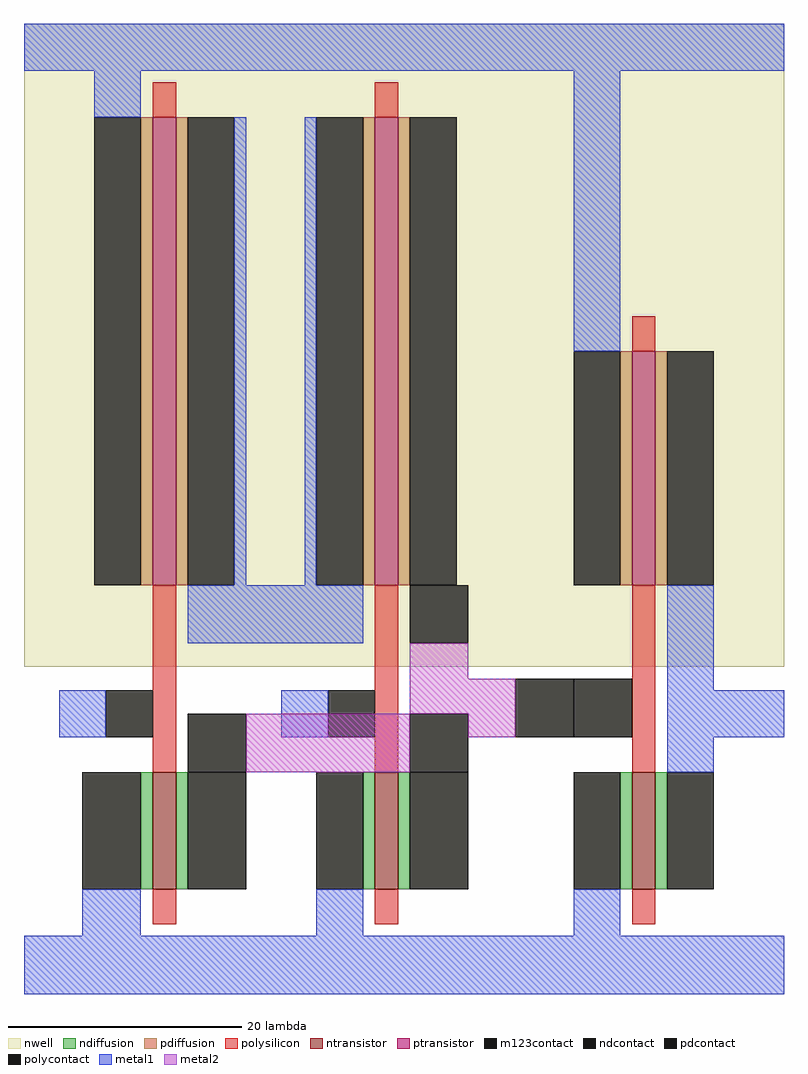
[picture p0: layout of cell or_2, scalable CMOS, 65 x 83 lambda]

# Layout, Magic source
magic
tech scmos
<< nwell >>
rect 0 38 65 93
<< ntransistor >>
rect 11 19 13 29
rect 30 19 32 29
rect 52 19 54 29
<< ptransistor >>
rect 11 45 13 85
rect 30 45 32 85
rect 52 45 54 65
<< ndiffusion >>
rect 10 19 11 29
rect 13 19 14 29
rect 29 19 30 29
rect 32 19 33 29
rect 51 19 52 29
rect 54 19 55 29
<< pdiffusion >>
rect 10 45 11 85
rect 13 45 14 85
rect 29 45 30 85
rect 32 45 33 85
rect 51 45 52 65
rect 54 45 55 65
<< ndcontact >>
rect 5 19 10 29
rect 14 19 19 29
rect 25 19 29 29
rect 33 19 38 29
rect 47 19 51 29
rect 55 19 59 29
<< pdcontact >>
rect 6 45 10 85
rect 14 45 18 85
rect 25 45 29 85
rect 33 45 37 85
rect 47 45 51 65
rect 55 45 59 65
<< polysilicon >>
rect 11 85 13 88
rect 30 85 32 88
rect 52 65 54 68
rect 11 29 13 45
rect 30 29 32 45
rect 52 29 54 45
rect 11 16 13 19
rect 30 16 32 19
rect 52 16 54 19
<< polycontact >>
rect 7 32 11 36
rect 26 32 30 36
rect 47 32 52 37
<< metal1 >>
rect 0 89 65 93
rect 6 85 10 89
rect 18 45 19 85
rect 24 45 25 85
rect 14 40 29 45
rect 47 65 51 89
rect 3 32 7 36
rect 22 32 26 36
rect 55 36 59 45
rect 55 32 65 36
rect 55 29 59 32
rect 5 15 10 19
rect 25 15 29 19
rect 47 15 51 19
rect 0 10 65 15
<< metal2 >>
rect 33 37 38 40
rect 33 34 42 37
rect 19 29 33 34
rect 38 32 42 34
<< m123contact >>
rect 33 40 38 45
rect 14 29 19 34
rect 33 29 38 34
rect 42 32 47 37
<< end >>
